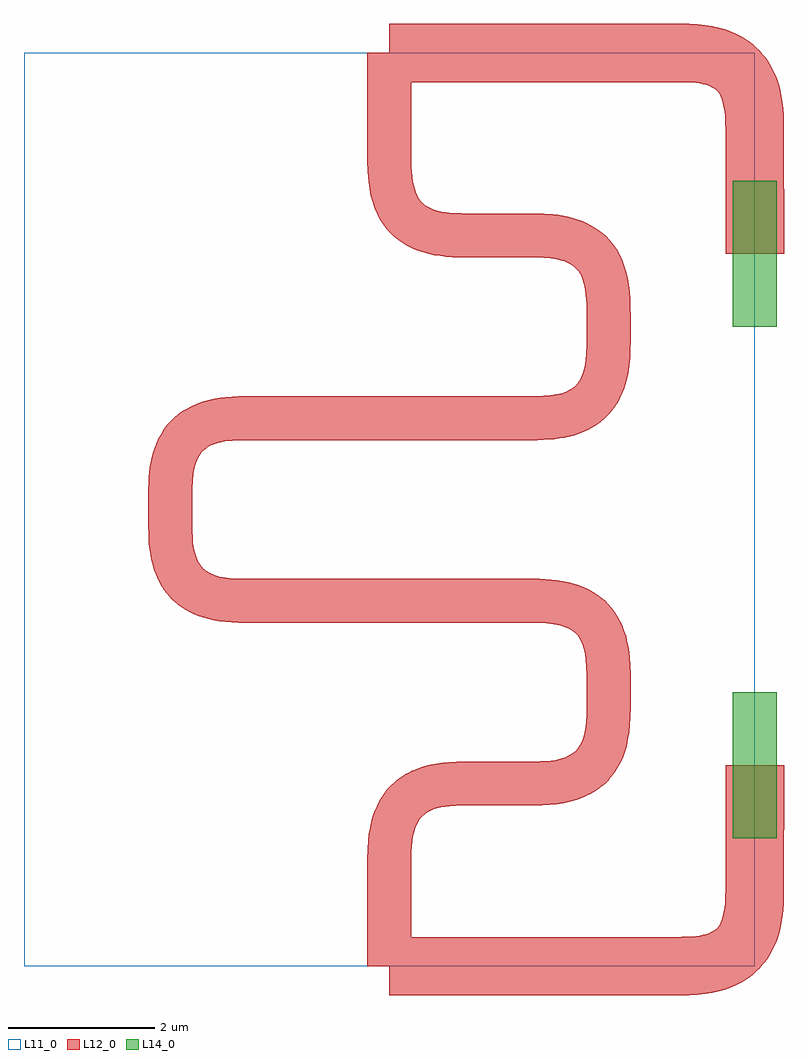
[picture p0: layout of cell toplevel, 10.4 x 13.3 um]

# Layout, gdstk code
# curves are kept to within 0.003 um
import gdstk
lib = gdstk.Library(unit=1e-6, precision=1e-09)
def R(c, l, rs):  # rectangles x0, y0, x1, y1
    for r in rs: c.add(gdstk.rectangle(r[:2], r[2:], *l))
def P(c, l, *ps):  # polygons
    for p in ps: c.add(gdstk.Polygon(p, *l))
L11_0 = (11, 0)
L12_0 = (12, 0)
L14_0 = (14, 0)

toplevel = lib.new_cell('toplevel')
R(toplevel, L11_0, [(-5,-12.5,5,0)])
P(toplevel, L12_0, [(-0.3,0),(-0.3,-1.475),(-0.292,-1.696),(-0.271,-1.864),(-0.253,-1.955),(-0.23,-2.04),(-0.166,-2.204),(-0.129,-2.276),(-0.085,-2.345),(-0.034,-2.412),(0.058,-2.508),(0.13,-2.567),(0.244,-2.64),(0.328,-2.681),(0.421,-2.717),(0.513,-2.745),(0.617,-2.768),(0.774,-2.789),(0.952,-2.799),(1.95,-2.8),(2.109,-2.804),(2.206,-2.812),(2.291,-2.825),(2.364,-2.844),(2.43,-2.868),(2.504,-2.909),(2.563,-2.96),(2.588,-2.991),(2.631,-3.067),(2.647,-3.108),(2.673,-3.202),(2.69,-3.311),(2.698,-3.437),(2.7,-3.622),(2.7,-3.98),(2.695,-4.123),(2.689,-4.193),(2.668,-4.321),(2.633,-4.427),(2.609,-4.476),(2.581,-4.519),(2.55,-4.554),(2.471,-4.612),(2.421,-4.636),(2.364,-4.656),(2.291,-4.675),(2.114,-4.696),(-2.06,-4.702),(-2.238,-4.712),(-2.396,-4.735),(-2.481,-4.753),(-2.632,-4.802),(-2.704,-4.834),(-2.833,-4.907),(-2.942,-4.992),(-2.993,-5.041),(-3.039,-5.093),(-3.125,-5.218),(-3.16,-5.283),(-3.219,-5.427),(-3.238,-5.487),(-3.267,-5.61),(-3.292,-5.81),(-3.299,-5.963),(-3.3,-6.448),(-3.296,-6.624),(-3.281,-6.801),(-3.268,-6.883),(-3.234,-7.027),(-3.215,-7.086),(-3.169,-7.198),(-3.143,-7.25),(-3.08,-7.352),(-3.014,-7.436),(-2.976,-7.476),(-2.936,-7.514),(-2.839,-7.589),(-2.737,-7.65),(-2.685,-7.675),(-2.619,-7.703),(-2.481,-7.747),(-2.403,-7.764),(-2.245,-7.787),(-2.06,-7.798),(1.925,-7.8),(2.15,-7.807),(2.291,-7.825),(2.371,-7.846),(2.442,-7.873),(2.5,-7.906),(2.548,-7.945),(2.606,-8.018),(2.637,-8.082),(2.659,-8.146),(2.677,-8.221),(2.689,-8.303),(2.7,-8.535),(2.7,-8.945),(2.693,-9.154),(2.673,-9.298),(2.637,-9.418),(2.586,-9.512),(2.554,-9.55),(2.519,-9.581),(2.451,-9.622),(2.368,-9.655),(2.271,-9.678),(2.158,-9.693),(1.97,-9.7),(0.923,-9.702),(0.731,-9.715),(0.642,-9.728),(0.506,-9.757),(0.401,-9.79),(0.263,-9.85),(0.18,-9.899),(0.099,-9.956),(-0.003,-10.052),(-0.062,-10.124),(-0.132,-10.231),(-0.169,-10.302),(-0.226,-10.447),(-0.248,-10.526),(-0.279,-10.687),(-0.29,-10.78),(-0.3,-11.036),(-0.3,-12.5),(0.3,-12.5),(0.3,-11.055),(0.306,-10.855),(0.323,-10.721),(0.353,-10.608),(0.396,-10.516),(0.452,-10.445),(0.518,-10.394),(0.602,-10.355),(0.702,-10.327),(0.82,-10.309),(1.02,-10.3),(2.089,-10.297),(2.196,-10.292),(2.288,-10.282),(2.461,-10.251),(2.566,-10.222),(2.665,-10.184),(2.756,-10.14),(2.845,-10.085),(2.924,-10.024),(2.993,-9.959),(3.058,-9.882),(3.113,-9.801),(3.19,-9.652),(3.245,-9.487),(3.281,-9.301),(3.297,-9.089),(3.3,-8.508),(3.289,-8.274),(3.274,-8.155),(3.251,-8.039),(3.222,-7.934),(3.184,-7.835),(3.121,-7.712),(3.044,-7.599),(2.953,-7.502),(2.901,-7.456),(2.845,-7.415),(2.724,-7.343),(2.592,-7.287),(2.448,-7.246),(2.288,-7.218),(2.136,-7.205),(1.948,-7.2),(-2.01,-7.199),(-2.132,-7.195),(-2.235,-7.184),(-2.325,-7.167),(-2.405,-7.142),(-2.462,-7.116),(-2.512,-7.086),(-2.552,-7.052),(-2.588,-7.009),(-2.619,-6.957),(-2.645,-6.898),(-2.665,-6.832),(-2.681,-6.755),(-2.693,-6.654),(-2.699,-6.529),(-2.699,-5.956),(-2.684,-5.765),(-2.67,-5.686),(-2.651,-5.618),(-2.621,-5.546),(-2.584,-5.486),(-2.542,-5.439),(-2.489,-5.399),(-2.421,-5.364),(-2.343,-5.338),(-2.255,-5.319),(-2.15,-5.307),(-1.925,-5.3),(2.025,-5.299),(2.257,-5.286),(2.39,-5.267),(2.513,-5.238),(2.625,-5.2),(2.724,-5.157),(2.814,-5.106),(2.901,-5.044),(2.976,-4.976),(3.072,-4.864),(3.129,-4.776),(3.175,-4.685),(3.213,-4.592),(3.243,-4.494),(3.267,-4.39),(3.284,-4.276),(3.293,-4.171),(3.3,-3.942),(3.299,-3.475),(3.295,-3.364),(3.277,-3.174),(3.262,-3.084),(3.241,-3),(3.187,-2.842),(3.15,-2.763),(3.11,-2.692),(3.014,-2.564),(2.959,-2.507),(2.901,-2.456),(2.833,-2.407),(2.704,-2.334),(2.579,-2.283),(2.513,-2.262),(2.377,-2.231),(2.226,-2.211),(1.986,-2.2),(0.985,-2.199),(0.864,-2.194),(0.765,-2.184),(0.709,-2.175),(0.608,-2.147),(0.524,-2.109),(0.456,-2.059),(0.402,-1.995),(0.36,-1.911),(0.33,-1.814),(0.319,-1.755),(0.305,-1.627),(0.3,-1.435),(0.3,0)],
  [(0,-0.4),(4.003,-0.401),(4.194,-0.411),(4.295,-0.429),(4.377,-0.454),(4.451,-0.494),(4.484,-0.521),(4.511,-0.556),(4.535,-0.598),(4.556,-0.65),(4.572,-0.709),(4.585,-0.775),(4.593,-0.85),(4.6,-1.06),(4.6,-2.75),(5.4,-2.75),(5.399,-0.979),(5.389,-0.765),(5.364,-0.585),(5.349,-0.516),(5.312,-0.388),(5.291,-0.331),(5.239,-0.217),(5.176,-0.112),(5.105,-0.017),(5.022,0.071),(4.929,0.148),(4.833,0.211),(4.755,0.253),(4.676,0.288),(4.59,0.319),(4.415,0.364),(4.32,0.379),(4.104,0.397),(0,0.4)],
  [(0,-12.9),(4.104,-12.897),(4.32,-12.879),(4.415,-12.864),(4.505,-12.843),(4.59,-12.819),(4.676,-12.788),(4.755,-12.753),(4.833,-12.711),(4.929,-12.648),(5.022,-12.571),(5.105,-12.483),(5.176,-12.388),(5.239,-12.283),(5.291,-12.169),(5.332,-12.048),(5.364,-11.915),(5.389,-11.735),(5.399,-11.521),(5.4,-9.75),(4.6,-9.75),(4.6,-11.44),(4.593,-11.65),(4.585,-11.725),(4.572,-11.791),(4.556,-11.85),(4.535,-11.902),(4.511,-11.944),(4.484,-11.979),(4.451,-12.006),(4.411,-12.03),(4.338,-12.06),(4.246,-12.081),(4.138,-12.094),(4.003,-12.099),(0,-12.1)])
R(toplevel, L14_0, [(4.7,-10.75,5.3,-8.75), (4.7,-3.75,5.3,-1.75)])

lib.write_gds('toplevel.gds')
